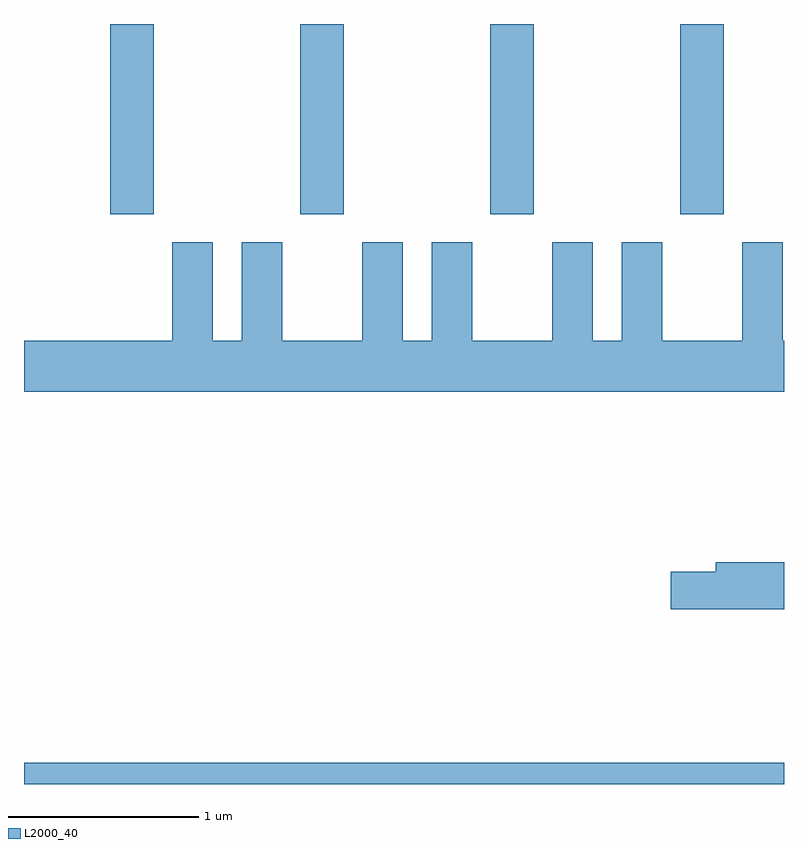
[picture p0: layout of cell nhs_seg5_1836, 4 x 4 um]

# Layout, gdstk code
import gdstk
lib = gdstk.Library(unit=1e-6, precision=1e-09)
def R(c, l, rs):  # rectangles x0, y0, x1, y1
    for r in rs: c.add(gdstk.rectangle(r[:2], r[2:], *l))
def A(c, l, x, y, w, h, nx, ny, dx, dy):  # array of equal rectangles
    R(c, l, [(x+i*dx, y+j*dy, x+i*dx+w, y+j*dy+h) for i in range(nx) for j in range(ny)])
def P(c, l, *ps):  # polygons
    for p in ps: c.add(gdstk.Polygon(p, *l))
L2000_40 = (2000, 40)

nhs_seg5_1836 = lib.new_cell('nhs_seg5_1836')
A(nhs_seg5_1836, L2000_40, 240.066, 1451.071, 0.228, 1.001, 4, 1, 1, 0)
R(nhs_seg5_1836, L2000_40, [(239.611,1448.072,243.611,1448.184)])
P(nhs_seg5_1836, L2000_40, [(243.611,1450.404),(243.604,1450.404),(243.604,1450.924),(243.391,1450.924),(243.391,1450.404),(242.969,1450.404),(242.969,1450.924),(242.756,1450.924),(242.756,1450.404),(242.604,1450.404),(242.604,1450.924),(242.391,1450.924),(242.391,1450.404),(241.969,1450.404),(241.969,1450.924),(241.756,1450.924),(241.756,1450.404),(241.604,1450.404),(241.604,1450.924),(241.391,1450.924),(241.391,1450.404),(240.969,1450.404),(240.969,1450.924),(240.756,1450.924),(240.756,1450.404),(240.604,1450.404),(240.604,1450.924),(240.391,1450.924),(240.391,1450.404),(239.611,1450.404),(239.611,1450.136),(243.611,1450.136)],
  [(243.611,1449.239),(243.251,1449.239),(243.251,1449.189),(243.016,1449.189),(243.016,1448.991),(243.611,1448.991)])

lib.write_gds('nhs_seg5_1836.gds')
